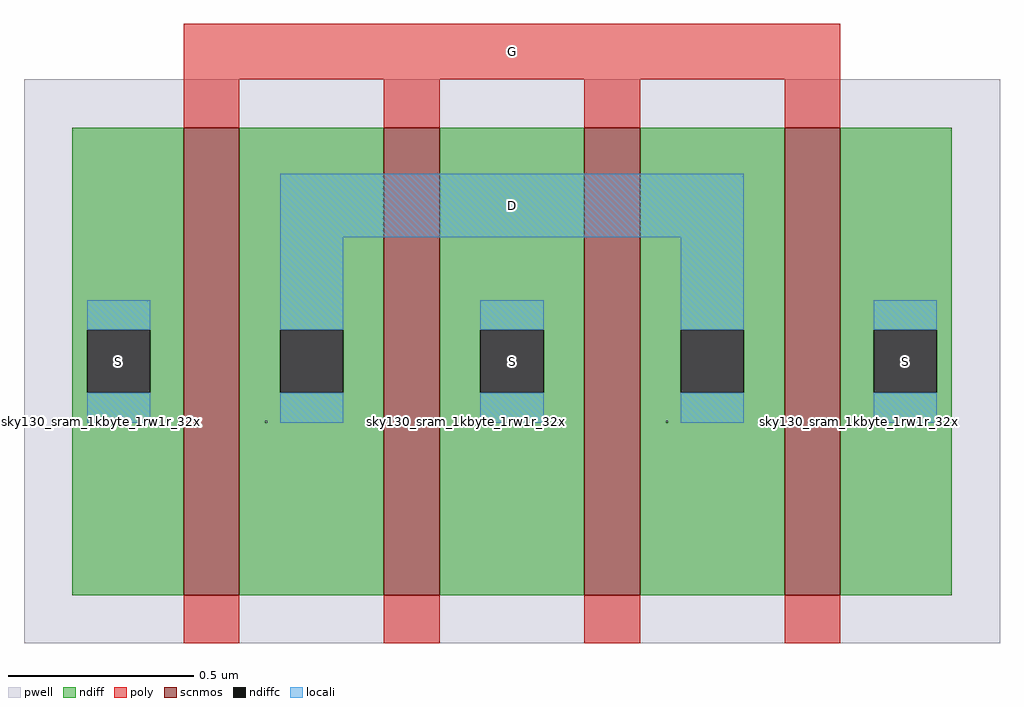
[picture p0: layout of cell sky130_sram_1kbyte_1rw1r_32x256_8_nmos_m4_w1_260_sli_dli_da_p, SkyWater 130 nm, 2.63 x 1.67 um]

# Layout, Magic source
magic
tech sky130A
magscale 1 2
<< pwell >>
rect -26 -26 500 278
<< scnmos >>
rect 60 0 90 252
rect 168 0 198 252
rect 276 0 306 252
rect 384 0 414 252
<< ndiff >>
rect 0 143 60 252
rect 0 109 8 143
rect 42 109 60 143
rect 0 0 60 109
rect 90 143 168 252
rect 90 109 112 143
rect 146 109 168 143
rect 90 0 168 109
rect 198 143 276 252
rect 198 109 220 143
rect 254 109 276 143
rect 198 0 276 109
rect 306 143 384 252
rect 306 109 328 143
rect 362 109 384 143
rect 306 0 384 109
rect 414 143 474 252
rect 414 109 432 143
rect 466 109 474 143
rect 414 0 474 109
<< ndiffc >>
rect 8 109 42 143
rect 112 109 146 143
rect 220 109 254 143
rect 328 109 362 143
rect 432 109 466 143
<< poly >>
rect 60 278 414 308
rect 60 252 90 278
rect 168 252 198 278
rect 276 252 306 278
rect 384 252 414 278
rect 60 -26 90 0
rect 168 -26 198 0
rect 276 -26 306 0
rect 384 -26 414 0
<< locali >>
rect 112 193 362 227
rect 8 143 42 159
rect 8 93 42 109
rect 112 143 146 193
rect 112 93 146 109
rect 220 143 254 159
rect 220 93 254 109
rect 328 143 362 193
rect 328 93 362 109
rect 432 143 466 159
rect 432 93 466 109
use sky130_sram_1kbyte_1rw1r_32x256_8_contact_11  sky130_sram_1kbyte_1rw1r_32x256_8_contact_11_0
transform 1 0 424 0 1 93
box 0 0 1 1
use sky130_sram_1kbyte_1rw1r_32x256_8_contact_11  sky130_sram_1kbyte_1rw1r_32x256_8_contact_11_1
transform 1 0 320 0 1 93
box 0 0 1 1
use sky130_sram_1kbyte_1rw1r_32x256_8_contact_11  sky130_sram_1kbyte_1rw1r_32x256_8_contact_11_2
transform 1 0 212 0 1 93
box 0 0 1 1
use sky130_sram_1kbyte_1rw1r_32x256_8_contact_11  sky130_sram_1kbyte_1rw1r_32x256_8_contact_11_3
transform 1 0 104 0 1 93
box 0 0 1 1
use sky130_sram_1kbyte_1rw1r_32x256_8_contact_11  sky130_sram_1kbyte_1rw1r_32x256_8_contact_11_4
transform 1 0 0 0 1 93
box 0 0 1 1
<< labels >>
rlabel locali s 237 126 237 126 4 S
port 1 nsew
rlabel locali s 449 126 449 126 4 S
port 1 nsew
rlabel locali s 25 126 25 126 4 S
port 1 nsew
rlabel locali s 237 210 237 210 4 D
port 2 nsew
rlabel poly s 237 293 237 293 4 G
port 3 nsew
<< properties >>
string FIXED_BBOX -25 -26 499 308
string GDS_FILE $PDKPATH/libs.ref/sky130_sram_macros/gds/sky130_sram_1kbyte_1rw1r_32x256_8.gds
string GDS_END 95778
string GDS_START 94224
<< end >>
